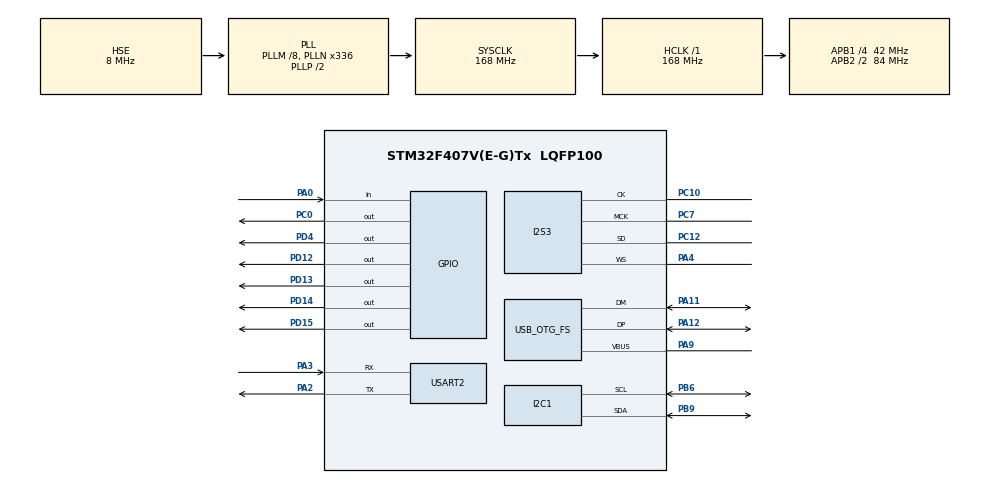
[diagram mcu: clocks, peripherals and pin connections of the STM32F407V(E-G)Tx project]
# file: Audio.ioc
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Dma.Request0=SPI3_TX
Dma.SPI3_TX.0.Direction=DMA_MEMORY_TO_PERIPH
Dma.SPI3_TX.0.FIFOMode=DMA_FIFOMODE_ENABLE
Dma.SPI3_TX.0.FIFOThreshold=DMA_FIFO_THRESHOLD_FULL
Dma.SPI3_TX.0.Instance=DMA1_Stream5
Dma.SPI3_TX.0.MemBurst=DMA_MBURST_SINGLE
Dma.SPI3_TX.0.MemDataAlignment=DMA_MDATAALIGN_HALFWORD
Dma.SPI3_TX.0.MemInc=DMA_MINC_ENABLE
Dma.SPI3_TX.0.Mode=DMA_CIRCULAR
Dma.SPI3_TX.0.PeriphBurst=DMA_PBURST_SINGLE
Dma.SPI3_TX.0.PeriphDataAlignment=DMA_PDATAALIGN_HALFWORD
Dma.SPI3_TX.0.PeriphInc=DMA_PINC_DISABLE
Dma.SPI3_TX.0.Priority=DMA_PRIORITY_LOW
I2S3.ErrorAudioFreq=0.23 %
I2S3.FullDuplexMode=I2S_FULLDUPLEXMODE_DISABLE
I2S3.Instance=SPI$Index
I2S3.RealAudioFreq=8.019 KHz
I2S3.VirtualMode=I2S_MODE_MASTER
Mcu.Family=STM32F4
Mcu.Name=STM32F407V(E-G)Tx
Mcu.Package=LQFP100
NVIC.DMA1_Stream5_IRQn=true\:0\:0\:false\:false\:true\:false\:true\:true
NVIC.OTG_FS_IRQn=true\:0\:0\:false\:false\:true\:false\:true\:true
NVIC.PriorityGroup=NVIC_PRIORITYGROUP_0
NVIC.USART2_IRQn=true\:0\:0\:false\:false\:true\:true\:true\:true
PA0-WKUP.Signal=GPIO_Input
PA11.Mode=Host_Only
PA11.Signal=USB_OTG_FS_DM
PA12.Mode=Host_Only
PA12.Signal=USB_OTG_FS_DP
PA2.Mode=Asynchronous
PA2.Signal=USART2_TX
PA3.Mode=Asynchronous
PA3.Signal=USART2_RX
PA4.Mode=Half_Duplex_Master
PA4.Signal=I2S3_WS
PA9.Mode=Activate_VBUS
PA9.Signal=USB_OTG_FS_VBUS
PB6.Mode=I2C
PB6.Signal=I2C1_SCL
PB9.Mode=I2C
PB9.Signal=I2C1_SDA
PC0.Signal=GPIO_Output
PC10.Mode=Half_Duplex_Master
PC10.Signal=I2S3_CK
PC12.Mode=Half_Duplex_Master
PC12.Signal=I2S3_SD
PC7.Mode=Master_Clock_Activated
PC7.Signal=I2S3_MCK
PD12.Signal=GPIO_Output
PD13.Signal=GPIO_Output
PD14.Signal=GPIO_Output
PD15.Signal=GPIO_Output
PD4.Signal=GPIO_Output
PH0-OSC_IN.Mode=HSE-External-Oscillator
PH0-OSC_IN.Signal=RCC_OSC_IN
PH1-OSC_OUT.Mode=HSE-External-Oscillator
PH1-OSC_OUT.Signal=RCC_OSC_OUT
ProjectManager.HeapSize=0x2000
ProjectManager.StackSize=0x2000
ProjectManager.TargetToolchain=EWARM V8.50
RCC.48MHZClocksFreq_Value=48000000
RCC.AHBFreq_Value=168000000
RCC.APB1CLKDivider=RCC_HCLK_DIV4
RCC.APB1Freq_Value=42000000
RCC.APB1TimFreq_Value=84000000
RCC.APB2CLKDivider=RCC_HCLK_DIV2
RCC.APB2Freq_Value=84000000
RCC.APB2TimFreq_Value=168000000
RCC.CortexFreq_Value=168000000
RCC.HCLKFreq_Value=168000000
RCC.HSE_VALUE=8000000
RCC.HSI_VALUE=16000000
RCC.LSE_VALUE=32768
RCC.PLLI2SN=271
RCC.PLLI2SR=6
RCC.PLLM=8
RCC.PLLN=336
RCC.PLLQ=7
RCC.SYSCLKFreq_VALUE=168000000
RCC.SYSCLKSource=RCC_SYSCLKSOURCE_PLLCLK
RCC.VCOOutputFreq_Value=336000000
USART2.VirtualMode=VM_ASYNC
USB_HOST.USBH_HandleTypeDef-MSC_FS=hUsbHostFS
USB_HOST.VirtualModeFS=Msc
USB_OTG_FS.VirtualMode=Host_Only
USB_OTG_FS.phy_itface=HCD_PHY_EMBEDDED
VP_FATFS_VS_USB.Mode=USB
VP_USB_HOST_VS_USB_HOST_MSC_FS.Mode=MSC_FS
board=STM32F407G-DISC1

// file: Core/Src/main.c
/* USER CODE BEGIN Header */
/**
  ******************************************************************************
  * @file           : main.c
  * @brief          : Main program body
  ******************************************************************************
  * @attention
  *
  * <h2><center>&copy; Copyright (c) 2020 STMicroelectronics.
  * All rights reserved.</center></h2>
  *
  * This software component is licensed by ST under Ultimate Liberty license
  * SLA0044, the "License"; You may not use this file except in compliance with
  * the License. You may obtain a copy of the License at:
  *                             www.st.com/SLA0044
  *
  ******************************************************************************
  */
/* USER CODE END Header */
#include "main.h"
#include "fatfs.h"
#include "usb_host.h"

/* USER CODE BEGIN Includes */
#include "audioI2S.h"
#include "MY_CS43L22.h"
#include "wav_player.h"
#include <string.h>
/* USER CODE END Includes */

/* USER CODE BEGIN PTD */
extern ApplicationTypeDef Appli_state;
/* USER CODE END PTD */

I2C_HandleTypeDef hi2c1;

I2S_HandleTypeDef hi2s3;
DMA_HandleTypeDef hdma_spi3_tx;

UART_HandleTypeDef huart2;

/* USER CODE BEGIN PV */
#define WAV_FILE1 "audio.wav"
#define WAV_FILE2 "audio2.wav"
#define WAV_FILE3 "audio3.wav"
#define ReceiveBufferSize 5
uint8_t ReceiveData[ReceiveBufferSize];
uint8_t data[] = "Hello\nMy playlist\n1.audio\n2.audio2\n3.audio3\n";
/* USER CODE END PV */

void SystemClock_Config(void);
static void MX_GPIO_Init(void);
static void MX_DMA_Init(void);
static void MX_I2C1_Init(void);
static void MX_I2S3_Init(void);
static void MX_USART2_UART_Init(void);
void MX_USB_HOST_Process(void);

/* USER CODE BEGIN PFP */
void HAL_UART_RxCpltCallback(UART_HandleTypeDef *huart);
/* USER CODE END PFP */

int main(void)
{

  /* MCU Configuration--------------------------------------------------------*/

  /* Reset of all peripherals, Initializes the Flash interface and the Systick. */
  HAL_Init();

  /* Configure the system clock */
  SystemClock_Config();

  /* Initialize all configured peripherals */
  MX_GPIO_Init();
  MX_DMA_Init();
  MX_I2C1_Init();
  MX_I2S3_Init();
  MX_FATFS_Init();
  MX_USB_HOST_Init();
  MX_USART2_UART_Init();
  /* USER CODE BEGIN 2 */
  CS43_Init(hi2c1, MODE_I2S);
  CS43_SetVolume(255);//0-255
  CS43_Enable_RightLeft(CS43_RIGHT_LEFT);

  audioI2S_setHandle(&hi2s3);

  bool isSdCardMounted=0;
  bool pauseResumeToggle=0;

  //if(HAL_GPIO_ReadPin(GPIOA, GPIO_PIN_0))
  HAL_UART_Transmit(&huart2, (uint8_t*)data, sizeof(data),500);
  /* USER CODE END 2 */

  /* Infinite loop */
  while (1)
  {
    MX_USB_HOST_Process();

    /* USER CODE BEGIN 3 */
    if(Appli_state == APPLICATION_START)
    {
      HAL_GPIO_WritePin(GPIOD, GPIO_PIN_12, GPIO_PIN_SET);
    }
    else if(Appli_state == APPLICATION_DISCONNECT)
    {
      HAL_GPIO_WritePin(GPIOD, GPIO_PIN_12, GPIO_PIN_RESET);
      f_mount(NULL, (TCHAR const*)"", 0);
      isSdCardMounted = 0;
    }

    if(Appli_state == APPLICATION_READY)
    {
      if(!isSdCardMounted)
      {
        f_mount(&USBHFatFS, (const TCHAR*)USBHPath, 0);
        isSdCardMounted = 1;
      }
      HAL_UART_Receive_IT(&huart2, ReceiveData, ReceiveBufferSize);
      if(strncmp(ReceiveData,"play",4)==0)
      {
        HAL_GPIO_WritePin(GPIOD, GPIO_PIN_13, GPIO_PIN_SET);
        HAL_Delay(500);
        switch (ReceiveData[4]){
        case '1':
          wavPlayer_fileSelect(WAV_FILE1);
          break;
        case '2':
          wavPlayer_fileSelect(WAV_FILE2);
          break;
        case '3':
          wavPlayer_fileSelect(WAV_FILE3);
          break;
        default:
          break;
        }
        wavPlayer_play();

        while(!wavPlayer_isFinished())
        {
          wavPlayer_process();
          if(HAL_GPIO_ReadPin(GPIOA, GPIO_PIN_0))
          {
            pauseResumeToggle^=1;
            if(pauseResumeToggle)
            {
              HAL_GPIO_WritePin(GPIOD, GPIO_PIN_14, GPIO_PIN_SET);
              wavPlayer_pause();
              HAL_Delay(200);
            }
            else
            {
              HAL_GPIO_WritePin(GPIOD, GPIO_PIN_14, GPIO_PIN_RESET);
              HAL_Delay(1000);
              if(HAL_GPIO_ReadPin(GPIOA, GPIO_PIN_0))
              {
                wavPlayer_stop();
              }
              {
                wavPlayer_resume();
              }
            }
          }
        }
        HAL_GPIO_WritePin(GPIOD, GPIO_PIN_13, GPIO_PIN_RESET);
        HAL_Delay(1000);
        for(uint8_t i=0;i<5;i++)
        {
          ReceiveData[i]=0;
        }
        wavPlayer_stop();
      }
    }
  }
  /* USER CODE END 3 */
}

void SystemClock_Config(void)
{
  RCC_OscInitTypeDef RCC_OscInitStruct = {0};
  RCC_ClkInitTypeDef RCC_ClkInitStruct = {0};

  /** Configure the main internal regulator output voltage
  */
  __HAL_RCC_PWR_CLK_ENABLE();
  __HAL_PWR_VOLTAGESCALING_CONFIG(PWR_REGULATOR_VOLTAGE_SCALE1);

  /** Initializes the RCC Oscillators according to the specified parameters
  * in the RCC_OscInitTypeDef structure.
  */
  RCC_OscInitStruct.OscillatorType = RCC_OSCILLATORTYPE_HSE;
  RCC_OscInitStruct.HSEState = RCC_HSE_ON;
  RCC_OscInitStruct.PLL.PLLState = RCC_PLL_ON;
  RCC_OscInitStruct.PLL.PLLSource = RCC_PLLSOURCE_HSE;
  RCC_OscInitStruct.PLL.PLLM = 8;
  RCC_OscInitStruct.PLL.PLLN = 336;
  RCC_OscInitStruct.PLL.PLLP = RCC_PLLP_DIV2;
  RCC_OscInitStruct.PLL.PLLQ = 7;
  if (HAL_RCC_OscConfig(&RCC_OscInitStruct) != HAL_OK)
  {
    Error_Handler();
  }

  /** Initializes the CPU, AHB and APB buses clocks
  */
  RCC_ClkInitStruct.ClockType = RCC_CLOCKTYPE_HCLK|RCC_CLOCKTYPE_SYSCLK
                              |RCC_CLOCKTYPE_PCLK1|RCC_CLOCKTYPE_PCLK2;
  RCC_ClkInitStruct.SYSCLKSource = RCC_SYSCLKSOURCE_PLLCLK;
  RCC_ClkInitStruct.AHBCLKDivider = RCC_SYSCLK_DIV1;
  RCC_ClkInitStruct.APB1CLKDivider = RCC_HCLK_DIV4;
  RCC_ClkInitStruct.APB2CLKDivider = RCC_HCLK_DIV2;

  if (HAL_RCC_ClockConfig(&RCC_ClkInitStruct, FLASH_LATENCY_5) != HAL_OK)
  {
    Error_Handler();
  }
}

static void MX_I2C1_Init(void)
{

  hi2c1.Instance = I2C1;
  hi2c1.Init.ClockSpeed = 100000;
  hi2c1.Init.DutyCycle = I2C_DUTYCYCLE_2;
  hi2c1.Init.OwnAddress1 = 0;
  hi2c1.Init.AddressingMode = I2C_ADDRESSINGMODE_7BIT;
  hi2c1.Init.DualAddressMode = I2C_DUALADDRESS_DISABLE;
  hi2c1.Init.OwnAddress2 = 0;
  hi2c1.Init.GeneralCallMode = I2C_GENERALCALL_DISABLE;
  hi2c1.Init.NoStretchMode = I2C_NOSTRETCH_DISABLE;
  if (HAL_I2C_Init(&hi2c1) != HAL_OK)
  {
    Error_Handler();
  }

}

static void MX_I2S3_Init(void)
{

  hi2s3.Instance = SPI3;
  hi2s3.Init.Mode = I2S_MODE_MASTER_TX;
  hi2s3.Init.Standard = I2S_STANDARD_PHILIPS;
  hi2s3.Init.DataFormat = I2S_DATAFORMAT_16B;
  hi2s3.Init.MCLKOutput = I2S_MCLKOUTPUT_ENABLE;
  hi2s3.Init.AudioFreq = I2S_AUDIOFREQ_8K;
  hi2s3.Init.CPOL = I2S_CPOL_LOW;
  hi2s3.Init.ClockSource = I2S_CLOCK_PLL;
  hi2s3.Init.FullDuplexMode = I2S_FULLDUPLEXMODE_DISABLE;
  if (HAL_I2S_Init(&hi2s3) != HAL_OK)
  {
    Error_Handler();
  }

}

static void MX_USART2_UART_Init(void)
{

  huart2.Instance = USART2;
  huart2.Init.BaudRate = 115200;
  huart2.Init.WordLength = UART_WORDLENGTH_8B;
  huart2.Init.StopBits = UART_STOPBITS_1;
  huart2.Init.Parity = UART_PARITY_NONE;
  huart2.Init.Mode = UART_MODE_TX_RX;
  huart2.Init.HwFlowCtl = UART_HWCONTROL_NONE;
  huart2.Init.OverSampling = UART_OVERSAMPLING_16;
  if (HAL_UART_Init(&huart2) != HAL_OK)
  {
    Error_Handler();
  }

}

static void MX_DMA_Init(void)
{

  /* DMA controller clock enable */
  __HAL_RCC_DMA1_CLK_ENABLE();

  /* DMA interrupt init */
  /* DMA1_Stream5_IRQn interrupt configuration */
  HAL_NVIC_SetPriority(DMA1_Stream5_IRQn, 0, 0);
  HAL_NVIC_EnableIRQ(DMA1_Stream5_IRQn);

}

static void MX_GPIO_Init(void)
{
  GPIO_InitTypeDef GPIO_InitStruct = {0};

  /* GPIO Ports Clock Enable */
  __HAL_RCC_GPIOH_CLK_ENABLE();
  __HAL_RCC_GPIOC_CLK_ENABLE();
  __HAL_RCC_GPIOA_CLK_ENABLE();
  __HAL_RCC_GPIOD_CLK_ENABLE();
  __HAL_RCC_GPIOB_CLK_ENABLE();

  /*Configure GPIO pin Output Level */
  HAL_GPIO_WritePin(GPIOC, GPIO_PIN_0, GPIO_PIN_RESET);

  /*Configure GPIO pin Output Level */
  HAL_GPIO_WritePin(GPIOD, GPIO_PIN_12|GPIO_PIN_13|GPIO_PIN_14|GPIO_PIN_15
                          |GPIO_PIN_4, GPIO_PIN_RESET);

  /*Configure GPIO pin : PC0 */
  GPIO_InitStruct.Pin = GPIO_PIN_0;
  GPIO_InitStruct.Mode = GPIO_MODE_OUTPUT_PP;
  GPIO_InitStruct.Pull = GPIO_NOPULL;
  GPIO_InitStruct.Speed = GPIO_SPEED_FREQ_LOW;
  HAL_GPIO_Init(GPIOC, &GPIO_InitStruct);

  /*Configure GPIO pin : PA0 */
  GPIO_InitStruct.Pin = GPIO_PIN_0;
  GPIO_InitStruct.Mode = GPIO_MODE_INPUT;
  GPIO_InitStruct.Pull = GPIO_NOPULL;
  HAL_GPIO_Init(GPIOA, &GPIO_InitStruct);

  /*Configure GPIO pins : PD12 PD13 PD14 PD15
                           PD4 */
  GPIO_InitStruct.Pin = GPIO_PIN_12|GPIO_PIN_13|GPIO_PIN_14|GPIO_PIN_15
                          |GPIO_PIN_4;
  GPIO_InitStruct.Mode = GPIO_MODE_OUTPUT_PP;
  GPIO_InitStruct.Pull = GPIO_NOPULL;
  GPIO_InitStruct.Speed = GPIO_SPEED_FREQ_LOW;
  HAL_GPIO_Init(GPIOD, &GPIO_InitStruct);

}

/* USER CODE BEGIN 4 */
//void HAL_UART_RxCpltCallback(UART_HandleTypeDef *huart)
//{
//  HAL_UART_Receive_IT(&huart2, ReceiveData, 5);
//}
/* USER CODE END 4 */

void Error_Handler(void)
{
}
